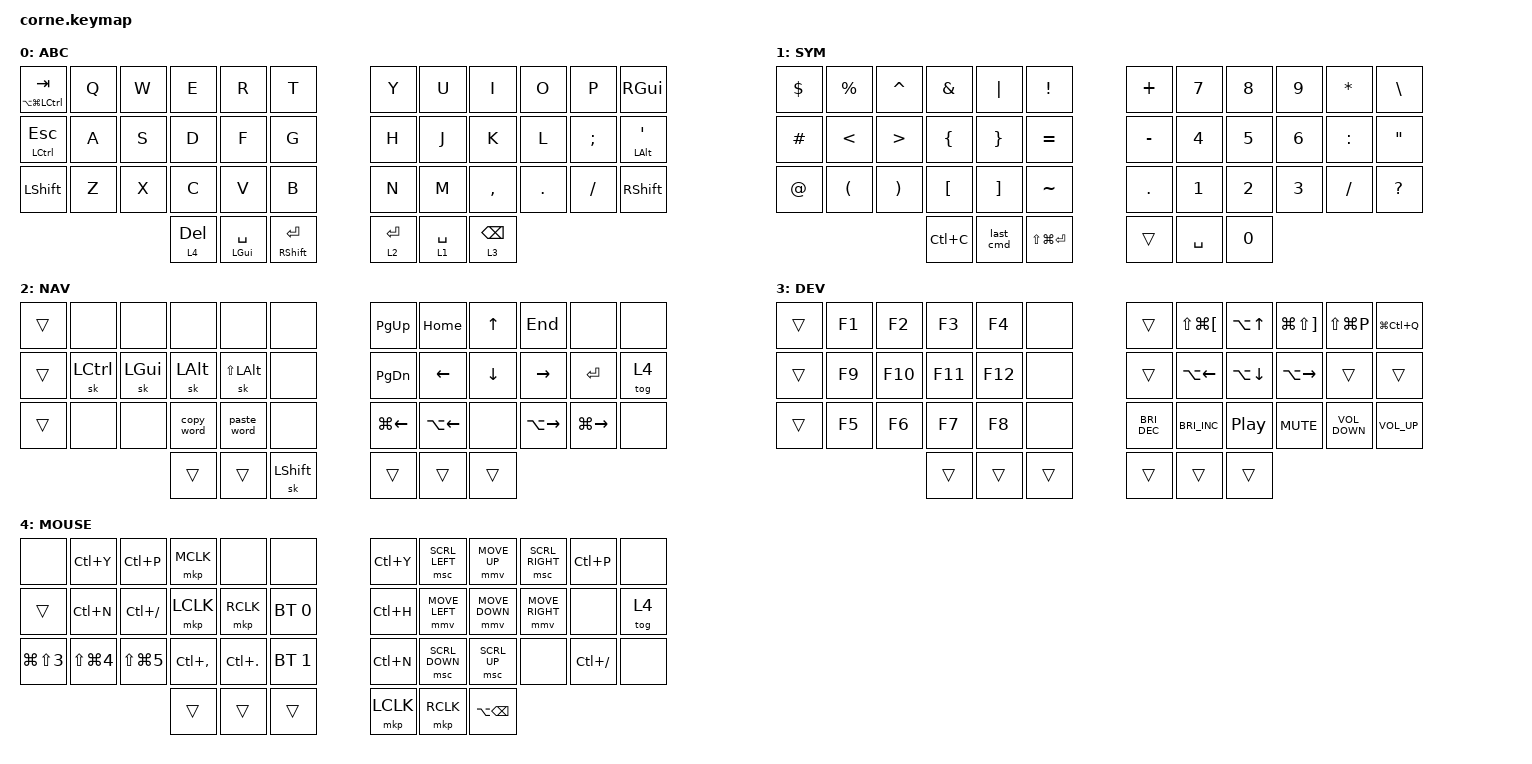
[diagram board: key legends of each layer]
/*
 * Copyright (c) 2020 The ZMK Contributors
 *
 * SPDX-License-Identifier: MIT
 */

#include <behaviors.dtsi>
#include <dt-bindings/zmk/bt.h>
#include <dt-bindings/zmk/keys.h>
#include <dt-bindings/zmk/pointing.h>

/ {
    combos {
        compatible = "zmk,combos";

        equal {
            bindings = <&kp EQUAL>;
            key-positions = <19 20>;
        };

        tab {
            bindings = <&kp TAB>;
            key-positions = <16 15>;
        };

        under {
            bindings = <&kp UNDER>;
            key-positions = <21 20>;
        };

        excl {
            bindings = <&kp EXCL>;
            key-positions = <15 14>;
        };

        at {
            bindings = <&kp AT_SIGN>;
            key-positions = <14 2>;
            require-prior-idle-ms = <250>;
        };

        hash {
            bindings = <&kp HASH>;
            key-positions = <15 3>;
            require-prior-idle-ms = <250>;
        };

        dollar {
            bindings = <&kp DOLLAR>;
            key-positions = <4 16>;
            require-prior-idle-ms = <250>;
        };

        question {
            bindings = <&kp QUESTION>;
            key-positions = <14 16>;
        };

        grave {
            bindings = <&kp GRAVE>;
            key-positions = <19 21>;
        };

        plus {
            bindings = <&kp PLUS>;
            key-positions = <19 7>;
        };

        minus {
            bindings = <&kp MINUS>;
            key-positions = <20 8>;
        };

        star {
            bindings = <&kp STAR>;
            key-positions = <21 9>;
        };

        lft_prth {
            bindings = <&kp LEFT_PARENTHESIS>;
            key-positions = <25 13>;
        };

        rgt_prth {
            bindings = <&kp RIGHT_PARENTHESIS>;
            key-positions = <34 22>;
        };

        del_bck {
            bindings = <&kp LA(BACKSPACE)>;
            key-positions = <32 31>;
        };

        del_fwd {
            bindings = <&kp LA(DELETE)>;
            key-positions = <33 32>;
        };

        caps {
            bindings = <&kp CAPS>;
            key-positions = <2 3 4>;
        };

        redo {
            bindings = <&kp K_REDO>;
            key-positions = <25 26>;
        };

        clipboard {
            bindings = <&kp LC(LG(C))>;
            key-positions = <26 27 28>;
        };

        equal_2 {
            bindings = <&euqal_2>;
            key-positions = <16 19>;
        };

        equal_3 {
            bindings = <&equal_3>;
            key-positions = <16 19 20>;
        };

        unequal_2 {
            bindings = <&unequal_2>;
            key-positions = <15 19>;
        };

        unequal_3 {
            bindings = <&unequal_3>;
            key-positions = <15 20 19>;
        };

        ge {
            bindings = <&ge>;
            key-positions = <14 19>;
        };

        le {
            bindings = <&le>;
            key-positions = <13 19>;
        };

        and_2 {
            bindings = <&and_2>;
            key-positions = <13 22>;
        };

        or_2 {
            bindings = <&or_2>;
            key-positions = <21 14>;
        };

        arrow_2 {
            bindings = <&arrow_2>;
            key-positions = <15 20>;
        };

        copy_word {
            bindings = <&copy_word>;
            key-positions = <26 27>;
        };

        paste_word {
            bindings = <&paste_word>;
            key-positions = <26 28>;
        };
    };

    macros {
        last_cmd: last_cmd {
            compatible = "zmk,behavior-macro";
            #binding-cells = <0>;
            bindings = <&kp LC(C) &kp UP_ARROW &kp ENTER>;
            label = "LAST_CMD";
        };

        equal_3: equal_3 {
            compatible = "zmk,behavior-macro";
            #binding-cells = <0>;
            bindings = <&none &kp EQUAL &kp EQUAL &kp EQUAL &kp SPACE>;
            label = "EQUAL_3";
        };

        euqal_2: euqal_2 {
            compatible = "zmk,behavior-macro";
            #binding-cells = <0>;
            bindings = <&none &kp EQUAL &kp EQUAL &kp SPACE>;
            label = "EUQAL_2";
        };

        unequal_3: unequal_3 {
            compatible = "zmk,behavior-macro";
            #binding-cells = <0>;
            bindings = <&none &kp EXCL &kp EQUAL &kp EQUAL &kp SPACE>;
            label = "UNEQUAL_3";
        };

        unequal_2: unequal_2 {
            compatible = "zmk,behavior-macro";
            #binding-cells = <0>;
            bindings = <&none &kp EXCL &kp EQUAL &kp SPACE>;
            label = "UNEQUAL_2";
        };

        ge: ge {
            compatible = "zmk,behavior-macro";
            #binding-cells = <0>;
            bindings = <&none &kp GT &kp EQUAL &kp SPACE>;
            label = "GE";
        };

        le: le {
            compatible = "zmk,behavior-macro";
            #binding-cells = <0>;
            bindings = <&none &kp LT &kp EQUAL &kp SPACE>;
            label = "LE";
        };

        and_2: and_2 {
            compatible = "zmk,behavior-macro";
            #binding-cells = <0>;
            bindings = <&none &kp AMPS &kp AMPS &kp SPACE>;
            label = "AND_2";
        };

        or_2: or_2 {
            compatible = "zmk,behavior-macro";
            #binding-cells = <0>;
            bindings = <&none &kp PIPE &kp PIPE &kp SPACE>;
            label = "OR_2";
        };

        arrow_2: arrow_2 {
            compatible = "zmk,behavior-macro";
            #binding-cells = <0>;
            bindings = <&none &kp EQUAL &kp GT &kp SPACE>;
            label = "ARROW_2";
        };

        copy_word: copy_word {
            compatible = "zmk,behavior-macro";
            #binding-cells = <0>;
            bindings = <&kp RIGHT &kp LA(LEFT) &kp LA(LS(RIGHT)) &kp LG(C)>;
            label = "COPY_WORD";
        };

        paste_word: paste_word {
            compatible = "zmk,behavior-macro";
            #binding-cells = <0>;
            bindings = <&kp RIGHT &kp LA(LEFT) &kp LA(LS(RIGHT)) &kp LG(V)>;
            label = "PASTE_WORD";
        };
    };

    behaviors {
        hold_tap: hold_tap {
            compatible = "zmk,behavior-hold-tap";
            label = "HOLD_TAP";
            bindings = <&kp>, <&kp>;

            #binding-cells = <2>;
            tapping-term-ms = <190>;
            flavor = "tap-preferred";
        };
    };

    keymap {
        compatible = "zmk,keymap";

        ABC {
            // -----------------------------------------------------------------------------------------
            // |  TAB |  Q  |  W  |  E  |  R  |  T  |   |  Y  |  U   |  I  |  O  |  P  | BKSP |
            // | CTRL |  A  |  S  |  D  |  F  |  G  |   |  H  |  J   |  K  |  L  |  ;  |  '   |
            // | SHFT |  Z  |  X  |  C  |  V  |  B  |   |  N  |  M   |  ,  |  .  |  /  | ESC  |
            //                    | GUI | LWR | SPC |   | ENT | RSE  | ALT |

            bindings = <
&hold_tap LA(LG(LCTRL)) TAB  &kp Q  &kp W  &kp E         &kp R                     &kp T                    &kp Y        &kp U        &kp I            &kp O    &kp P     &kp RIGHT_GUI
&hold_tap LCTRL ESCAPE       &kp A  &kp S  &kp D         &kp F                     &kp G                    &kp H        &kp J        &kp K            &kp L    &kp SEMI  &hold_tap LALT SQT
&kp LSHFT                    &kp Z  &kp X  &kp C         &kp V                     &kp B                    &kp N        &kp M        &kp COMMA        &kp DOT  &kp FSLH  &kp RSHIFT
                                           &lt 4 DELETE  &hold_tap LEFT_GUI SPACE  &hold_tap RSHFT ENTER    &lt 2 ENTER  &lt 1 SPACE  &lt 3 BACKSPACE
            >;
        };

        SYM {
            // -----------------------------------------------------------------------------------------
            // |  TAB |  1  |  2  |  3  |  4  |  5  |   |  6  |  7  |  8  |  9  |  0  | BKSP |
            // | BTCLR| BT1 | BT2 | BT3 | BT4 | BT5 |   | LFT | DWN |  UP | RGT |     |      |
            // | SHFT |     |     |     |     |     |   |     |     |     |     |     |      |
            //                    | GUI |     | SPC |   | ENT |     | ALT |

            bindings = <
&kp DOLLAR   &kp PERCENT           &kp CARET              &kp AMPERSAND     &kp PIPE           &kp EXCLAMATION      &kp PLUS    &kp N7        &kp N8        &kp N9        &kp ASTERISK  &kp BACKSLASH
&kp HASH     &kp LESS_THAN         &kp GREATER_THAN       &kp LEFT_BRACE    &kp RIGHT_BRACE    &kp EQUAL            &kp MINUS   &kp NUMBER_4  &kp N5        &kp NUMBER_6  &kp COLON     &kp DOUBLE_QUOTES
&kp AT_SIGN  &kp LEFT_PARENTHESIS  &kp RIGHT_PARENTHESIS  &kp LEFT_BRACKET  &kp RIGHT_BRACKET  &kp TILDE            &kp PERIOD  &kp NUMBER_1  &kp NUMBER_2  &kp NUMBER_3  &kp SLASH     &kp QUESTION
                                                          &kp LC(C)         &last_cmd          &kp LS(LG(ENTER))    &trans      &kp SPACE     &kp N0
            >;
        };

        NAV {
            // -----------------------------------------------------------------------------------------
            // |  TAB |  !  |  @  |  #  |  $  |  %  |   |  ^  |  &  |  *  |  (  |  )  | BKSP |
            // | CTRL |     |     |     |     |     |   |  -  |  =  |  [  |  ]  |  \  |  `   |
            // | SHFT |     |     |     |     |     |   |  _  |  +  |  {  |  }  | "|" |  ~   |
            //                    | GUI |     | SPC |   | ENT |     | ALT |

            bindings = <
&trans  &none      &none         &none       &none             &none        &kp PG_UP           &kp HOME      &kp UP_ARROW  &kp END        &none          &none
&trans  &sk LCTRL  &sk LEFT_GUI  &sk LALT    &sk LS(LEFT_ALT)  &none        &kp PAGE_DOWN       &kp LEFT      &kp DOWN      &kp RIGHT      &kp ENTER      &tog 4
&trans  &none      &none         &copy_word  &paste_word       &none        &kp LG(LEFT_ARROW)  &kp LA(LEFT)  &none         &kp LA(RIGHT)  &kp LG(RIGHT)  &none
                                 &trans      &trans            &sk LSHFT    &trans              &trans        &trans
            >;
        };

        DEV {
            bindings = <
&trans  &kp F1  &kp F2   &kp F3   &kp F4   &none     &trans                &kp LS(LG(LEFT_BRACKET))  &kp LA(UP_ARROW)  &kp LG(LS(RIGHT_BRACKET))  &kp LS(LG(P))      &kp LG(LC(Q))
&trans  &kp F9  &kp F10  &kp F11  &kp F12  &none     &trans                &kp LA(LEFT_ARROW)        &kp LA(DOWN)      &kp LA(RIGHT)              &trans             &trans
&trans  &kp F5  &kp F6   &kp F7   &kp F8   &none     &kp C_BRIGHTNESS_DEC  &kp C_BRIGHTNESS_INC      &kp C_PLAY_PAUSE  &kp C_MUTE                 &kp C_VOLUME_DOWN  &kp C_VOLUME_UP
                         &trans   &trans   &trans    &trans                &trans                    &trans
            >;
        };

        MOUSE {
            bindings = <
&none                 &kp LC(Y)             &kp LC(P)             &mkp MCLK      &none           &none           &kp LC(Y)  &msc SCRL_LEFT  &mmv MOVE_UP       &msc SCRL_RIGHT  &kp LC(P)      &none
&trans                &kp LC(N)             &kp LC(SLASH)         &mkp LCLK      &mkp RCLK       &bt BT_SEL 0    &kp LC(H)  &mmv MOVE_LEFT  &mmv MOVE_DOWN     &mmv MOVE_RIGHT  &none          &tog 4
&kp LG(LS(NUMBER_3))  &kp LS(LG(NUMBER_4))  &kp LS(LG(NUMBER_5))  &kp LC(COMMA)  &kp LC(PERIOD)  &bt BT_SEL 1    &kp LC(N)  &msc SCRL_DOWN  &msc SCRL_UP       &none            &kp LC(SLASH)  &none
                                                                  &trans         &trans          &trans          &mkp LCLK  &mkp RCLK       &kp LA(BACKSPACE)
            >;
        };
    };

    conditional_layers { compatible = "zmk,conditional-layers"; };
};
